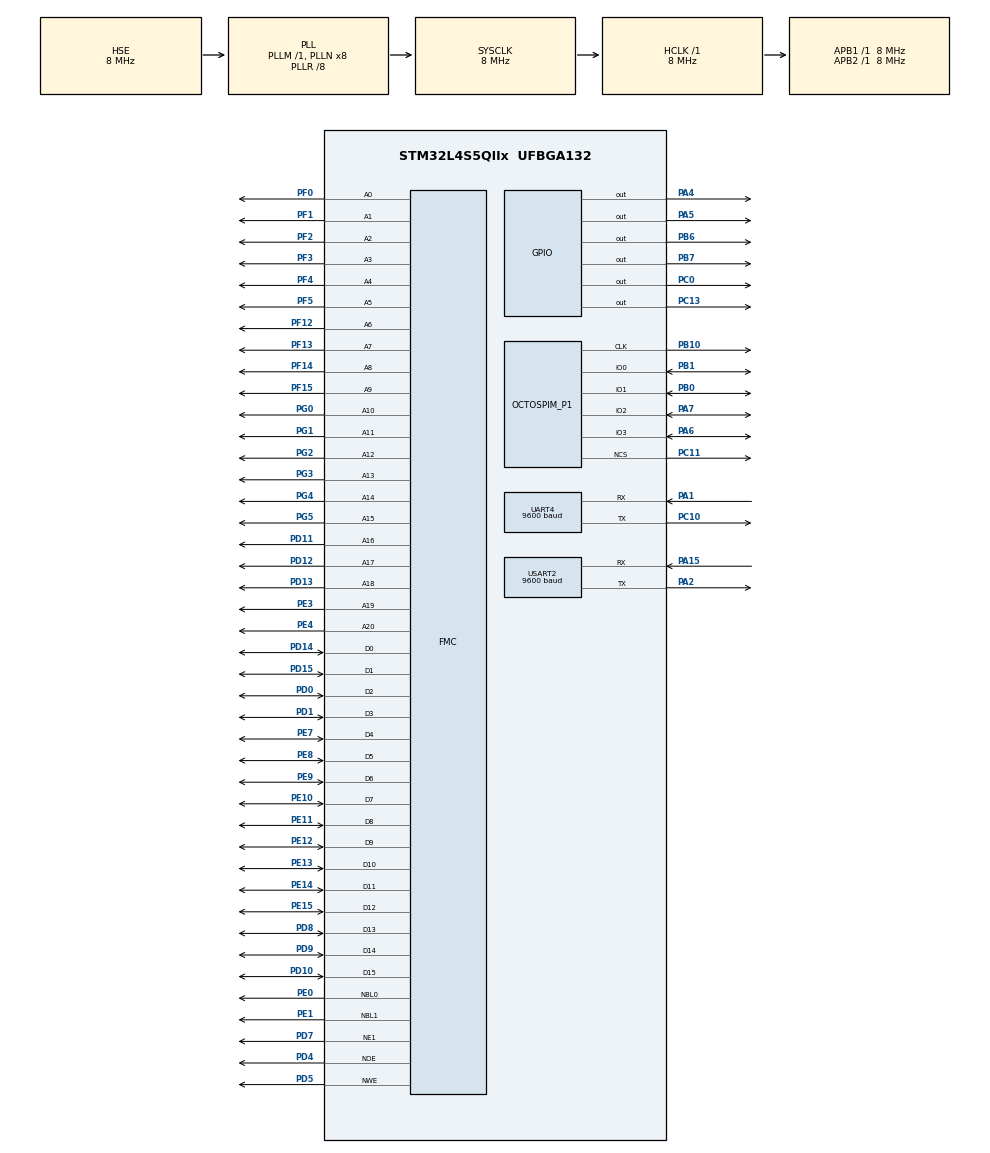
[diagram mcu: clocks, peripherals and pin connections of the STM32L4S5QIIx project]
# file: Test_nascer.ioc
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FMC.WriteFifo1=FMC_WRITE_FIFO_DISABLE
FMC.WriteOperation1=FMC_WRITE_OPERATION_ENABLE
Mcu.Family=STM32L4
Mcu.Name=STM32L4S5QIIx
Mcu.Package=UFBGA132
NVIC.PriorityGroup=NVIC_PRIORITYGROUP_4
PA1.Mode=Asynchronous
PA1.Signal=UART4_RX
PA13\ (JTMS/SWDIO).Mode=Trace_Asynchronous_SW
PA13\ (JTMS/SWDIO).Signal=SYS_JTMS-SWDIO
PA14\ (JTCK/SWCLK).Mode=Trace_Asynchronous_SW
PA14\ (JTCK/SWCLK).Signal=SYS_JTCK-SWCLK
PA15\ (JTDI).Mode=Asynchronous
PA15\ (JTDI).Signal=USART2_RX
PA2.Mode=Asynchronous
PA2.Signal=USART2_TX
PA4.Signal=GPIO_Output
PA5.Signal=GPIO_Output
PA6.Mode=OCTOSPI1_IOL_Port1L
PA6.Signal=OCTOSPIM_P1_IO3
PA7.Mode=OCTOSPI1_IOL_Port1L
PA7.Signal=OCTOSPIM_P1_IO2
PB0.Mode=OCTOSPI1_IOL_Port1L
PB0.Signal=OCTOSPIM_P1_IO1
PB1.Mode=OCTOSPI1_IOL_Port1L
PB1.Signal=OCTOSPIM_P1_IO0
PB10.Mode=O1_P1_CLK
PB10.Signal=OCTOSPIM_P1_CLK
PB3\ (JTDO/TRACESWO).Mode=Trace_Asynchronous_SW
PB3\ (JTDO/TRACESWO).Signal=SYS_JTDO-SWO
PB6.Signal=GPIO_Output
PB7.Signal=GPIO_Output
PC0.PinState=GPIO_PIN_SET
PC0.Signal=GPIO_Output
PC10.Mode=Asynchronous
PC10.Signal=UART4_TX
PC11.Mode=OCTOSPI1_Port1_NCS
PC11.Signal=OCTOSPIM_P1_NCS
PC13.PinState=GPIO_PIN_SET
PC13.Signal=GPIO_Output
PC14-OSC32_IN\ (PC14).Mode=LSE-External-Oscillator
PC14-OSC32_IN\ (PC14).Signal=RCC_OSC32_IN
PC15-OSC32_OUT\ (PC15).Mode=LSE-External-Oscillator
PC15-OSC32_OUT\ (PC15).Signal=RCC_OSC32_OUT
PD0.Signal=FMC_D2_DA2
PD1.Signal=FMC_D3_DA3
PD10.Signal=FMC_D15_DA15
PD11.Signal=FMC_A16_CLE
PD12.Signal=FMC_A17_ALE
PD13.Signal=FMC_A18
PD14.Signal=FMC_D0_DA0
PD15.Signal=FMC_D1_DA1
PD4.Signal=FMC_NOE
PD5.Signal=FMC_NWE
PD7.Mode=NorPsramChipSelect1_1
PD7.Signal=FMC_NE1
PD8.Signal=FMC_D13_DA13
PD9.Signal=FMC_D14_DA14
PE0.Signal=FMC_NBL0
PE1.Signal=FMC_NBL1
PE10.Signal=FMC_D7_DA7
PE11.Signal=FMC_D8_DA8
PE12.Signal=FMC_D9_DA9
PE13.Signal=FMC_D10_DA10
PE14.Signal=FMC_D11_DA11
PE15.Signal=FMC_D12_DA12
PE3.Signal=FMC_A19
PE4.Signal=FMC_A20
PE7.Signal=FMC_D4_DA4
PE8.Signal=FMC_D5_DA5
PE9.Signal=FMC_D6_DA6
PF0.Signal=FMC_A0
PF1.Signal=FMC_A1
PF12.Signal=FMC_A6
PF13.Signal=FMC_A7
PF14.Signal=FMC_A8
PF15.Signal=FMC_A9
PF2.Signal=FMC_A2
PF3.Signal=FMC_A3
PF4.Signal=FMC_A4
PF5.Signal=FMC_A5
PG0.Signal=FMC_A10
PG1.Signal=FMC_A11
PG2.Signal=FMC_A12
PG3.Signal=FMC_A13
PG4.Signal=FMC_A14
PG5.Signal=FMC_A15
PH0-OSC_IN\ (PH0).Mode=HSE-External-Oscillator
PH0-OSC_IN\ (PH0).Signal=RCC_OSC_IN
PH1-OSC_OUT\ (PH1).Mode=HSE-External-Oscillator
PH1-OSC_OUT\ (PH1).Signal=RCC_OSC_OUT
ProjectManager.HeapSize=0x200
ProjectManager.StackSize=0x400
ProjectManager.TargetToolchain=STM32CubeIDE
RCC.ADCFreq_Value=32000000
RCC.AHBFreq_Value=8000000
RCC.APB1Freq_Value=8000000
RCC.APB1TimFreq_Value=8000000
RCC.APB2Freq_Value=8000000
RCC.APB2TimFreq_Value=8000000
RCC.CortexFreq_Value=8000000
RCC.HCLKFreq_Value=8000000
RCC.HSE_VALUE=8000000
RCC.HSI48_VALUE=48000000
RCC.HSI_VALUE=16000000
RCC.MSI_VALUE=4000000
RCC.PLLR=RCC_PLLR_DIV8
RCC.PLLSourceVirtual=RCC_PLLSOURCE_HSE
RCC.SYSCLKFreq_VALUE=8000000
RCC.SYSCLKSource=RCC_SYSCLKSOURCE_PLLCLK
RCC.USBFreq_Value=32000000
RCC.VCOOutputFreq_Value=64000000
SH.FMC_A0.0=FMC_A0,21b-a1
SH.FMC_A1.0=FMC_A1,21b-a1
SH.FMC_A10.0=FMC_A10,21b-a1
SH.FMC_A11.0=FMC_A11,21b-a1
SH.FMC_A12.0=FMC_A12,21b-a1
SH.FMC_A13.0=FMC_A13,21b-a1
SH.FMC_A14.0=FMC_A14,21b-a1
SH.FMC_A15.0=FMC_A15,21b-a1
SH.FMC_A16_CLE.0=FMC_A16,21b-a1
SH.FMC_A17_ALE.0=FMC_A17,21b-a1
SH.FMC_A18.0=FMC_A18,21b-a1
SH.FMC_A19.0=FMC_A19,21b-a1
SH.FMC_A2.0=FMC_A2,21b-a1
SH.FMC_A20.0=FMC_A20,21b-a1
SH.FMC_A3.0=FMC_A3,21b-a1
SH.FMC_A4.0=FMC_A4,21b-a1
SH.FMC_A5.0=FMC_A5,21b-a1
SH.FMC_A6.0=FMC_A6,21b-a1
SH.FMC_A7.0=FMC_A7,21b-a1
SH.FMC_A8.0=FMC_A8,21b-a1
SH.FMC_A9.0=FMC_A9,21b-a1
SH.FMC_D0_DA0.0=FMC_D0,16b-d1
SH.FMC_D10_DA10.0=FMC_D10,16b-d1
SH.FMC_D11_DA11.0=FMC_D11,16b-d1
SH.FMC_D12_DA12.0=FMC_D12,16b-d1
SH.FMC_D13_DA13.0=FMC_D13,16b-d1
SH.FMC_D14_DA14.0=FMC_D14,16b-d1
SH.FMC_D15_DA15.0=FMC_D15,16b-d1
SH.FMC_D1_DA1.0=FMC_D1,16b-d1
SH.FMC_D2_DA2.0=FMC_D2,16b-d1
SH.FMC_D3_DA3.0=FMC_D3,16b-d1
SH.FMC_D4_DA4.0=FMC_D4,16b-d1
SH.FMC_D5_DA5.0=FMC_D5,16b-d1
SH.FMC_D6_DA6.0=FMC_D6,16b-d1
SH.FMC_D7_DA7.0=FMC_D7,16b-d1
SH.FMC_D8_DA8.0=FMC_D8,16b-d1
SH.FMC_D9_DA9.0=FMC_D9,16b-d1
SH.FMC_NBL0.0=FMC_NBL0,2ByteEnable1
SH.FMC_NBL1.0=FMC_NBL1,2ByteEnable1
SH.FMC_NOE.0=FMC_NOE,Sram1
SH.FMC_NWE.0=FMC_NWE,Sram1
UART4.BaudRate=9600
USART2.BaudRate=9600
USART2.VirtualMode-Asynchronous=VM_ASYNC
VP_OCTOSPI1_VS_quad.Mode=quad_mode
board=custom

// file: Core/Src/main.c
/* USER CODE BEGIN Header */
/**
  ******************************************************************************
  * @file           : main.c
  * @brief          : Main program body
  ******************************************************************************
  * @attention
  *
  * Copyright (c) 2024 STMicroelectronics.
  * All rights reserved.
  *
  * This software is licensed under terms that can be found in the LICENSE file
  * in the root directory of this software component.
  * If no LICENSE file comes with this software, it is provided AS-IS.
  *
  ******************************************************************************
  */
/* USER CODE END Header */
#include "main.h"

OSPI_HandleTypeDef hospi1;

UART_HandleTypeDef huart4;
UART_HandleTypeDef huart2;

SRAM_HandleTypeDef hsram1;

/* USER CODE BEGIN PV */

uint32_t i = 0;
uint8_t send1[] = "STLINK SERIAL\n\r";
uint8_t send2[] = "FTDI SERIAL\r\n";
uint8_t p_Data[]   = {0x9f, 0x00, 0x00, 0x00, 0x00};
HAL_StatusTypeDef result;

/* USER CODE END PV */

void SystemClock_Config(void);
static void MX_GPIO_Init(void);
static void MX_UART4_Init(void);
static void MX_USART2_UART_Init(void);
static void MX_FMC_Init(void);
static void MX_OCTOSPI1_Init(void);

/* USER CODE BEGIN 0 */

// Função para ler dados da flash W25N01GV
HAL_StatusTypeDef OSPI_RESET(uint8_t *pData) {

    OSPI_RegularCmdTypeDef cmd;

    cmd.InstructionMode   = HAL_OSPI_INSTRUCTION_1_LINE;
    cmd.AddressMode       = HAL_OSPI_ADDRESS_NONE;
    cmd.AlternateBytesMode = HAL_OSPI_ALTERNATE_BYTES_NONE;
    cmd.DataMode          = HAL_OSPI_DATA_NONE;
    cmd.DummyCycles       = 0;
    cmd.SIOOMode          = HAL_OSPI_SIOO_INST_EVERY_CMD ;
    cmd.Instruction       = 0xFF;
    cmd.Address           = 0x00;
    cmd.AddressSize       = HAL_OSPI_ADDRESS_8_BITS;
    cmd.NbData            = 0;

    // Configuração do OSPI
    // ...

    // Executa o comando de leitura
    result = HAL_OSPI_Command(&hospi1, &cmd, HAL_OSPI_TIMEOUT_DEFAULT_VALUE);
    if (result != HAL_OK) {
        return HAL_ERROR;
    }

    result = HAL_OSPI_Transmit(&hospi1, 0, HAL_OSPI_TIMEOUT_DEFAULT_VALUE);
    if (result != HAL_OK) {
        return HAL_ERROR;
    }

    return HAL_OK;
}

// Função para ler dados da flash W25N01GV
HAL_StatusTypeDef OSPI_Read(uint8_t instruct,uint32_t address, uint8_t *pData, uint32_t size,uint32_t dummy) {

    OSPI_RegularCmdTypeDef cmd;
    cmd.OperationType      = HAL_OSPI_OPTYPE_COMMON_CFG;
    cmd.FlashId            = HAL_OSPI_FLASH_ID_1;
    cmd.InstructionMode    = HAL_OSPI_INSTRUCTION_1_LINE;
    cmd.InstructionSize    = HAL_OSPI_INSTRUCTION_8_BITS;
    cmd.InstructionDtrMode = HAL_OSPI_INSTRUCTION_DTR_DISABLE;
    cmd.AddressMode        = HAL_OSPI_ADDRESS_NONE;
    cmd.AddressSize        = HAL_OSPI_ADDRESS_8_BITS;
    cmd.AddressDtrMode     = HAL_OSPI_ADDRESS_DTR_DISABLE;
    cmd.AlternateBytesMode = HAL_OSPI_ALTERNATE_BYTES_NONE;
    cmd.DataMode           = HAL_OSPI_DATA_1_LINE;
    cmd.DataDtrMode        = HAL_OSPI_DATA_DTR_DISABLE;
    cmd.DQSMode            = HAL_OSPI_DQS_DISABLE;
    cmd.SIOOMode           = HAL_OSPI_SIOO_INST_EVERY_CMD;
    cmd.Instruction        = instruct;
    cmd.Address            = address;
    cmd.NbData             = size;
    cmd.DummyCycles        = dummy;

    // Configuração do OSPI
    // ...

    // Executa o comando de leitura
    result = HAL_OSPI_Command(&hospi1, &cmd, HAL_OSPI_TIMEOUT_DEFAULT_VALUE);
    if (result != HAL_OK) {
        return HAL_ERROR;
    }

    result = HAL_OSPI_Receive(&hospi1, pData, HAL_OSPI_TIMEOUT_DEFAULT_VALUE);
    if (result != HAL_OK) {
        return HAL_ERROR;
    }

    return HAL_OK;
}

/* USER CODE END 0 */

int main(void)
{

  /* MCU Configuration--------------------------------------------------------*/

  /* Reset of all peripherals, Initializes the Flash interface and the Systick. */
  HAL_Init();

  /* Configure the system clock */
  SystemClock_Config();

  /* Initialize all configured peripherals */
  MX_GPIO_Init();
  MX_UART4_Init();
  MX_USART2_UART_Init();
  //MX_FMC_Init();
  MX_OCTOSPI1_Init();
  /* USER CODE BEGIN 2 */
  HAL_GPIO_WritePin(GPIOC, GPIO_PIN_0|GPIO_PIN_13, GPIO_PIN_SET);

  /* USER CODE END 2 */

  /* Infinite loop */
  /* USER CODE BEGIN WHILE */
  while (1)
  {

	  HAL_GPIO_TogglePin(GPIOA, GPIO_PIN_4|GPIO_PIN_5);
	  HAL_GPIO_TogglePin(GPIOB, GPIO_PIN_7|GPIO_PIN_6);

	  HAL_Delay(100);

	  //HAL_UART_Transmit(&huart2, send1, sizeof(send1), 100);

	  HAL_UART_Transmit(&huart4, send2, sizeof(send2), 100);

	  *((uint16_t *)(0x60000000 + i)) = 0x0000;

	  i += 2;

	      uint8_t pData[5] = {0};
	      uint32_t address = 0x00000000; // Endereço de início da leitura

//	      result = OSPI_RESET(p_Data);
//
//	      if (result == HAL_OK) {
//	          // Dados lidos com sucesso
//	          // Processa os dados
//	    	  HAL_UART_Transmit(&huart4, p_Data, sizeof(pData), 100);
//
//	      } else {
//	    	  //while(1);
//	      }

	      result = OSPI_Read(0x9F, address, p_Data, 3, 8);

	      	      if (result == HAL_OK) {
	      	          // Dados lidos com sucesso
	      	          // Processa os dados
	      	    	  HAL_UART_Transmit(&huart4, send2, sizeof(send2), 100);

	      	      } else {
	      	    	  while(1);
	      	      }

    /* USER CODE END WHILE */

  }
}

void SystemClock_Config(void)
{
  RCC_OscInitTypeDef RCC_OscInitStruct = {0};
  RCC_ClkInitTypeDef RCC_ClkInitStruct = {0};

  /** Configure the main internal regulator output voltage
  */
  if (HAL_PWREx_ControlVoltageScaling(PWR_REGULATOR_VOLTAGE_SCALE1) != HAL_OK)
  {
    Error_Handler();
  }

  /** Initializes the RCC Oscillators according to the specified parameters
  * in the RCC_OscInitTypeDef structure.
  */
  RCC_OscInitStruct.OscillatorType = RCC_OSCILLATORTYPE_HSE;
  RCC_OscInitStruct.HSEState = RCC_HSE_ON;
  RCC_OscInitStruct.PLL.PLLState = RCC_PLL_ON;
  RCC_OscInitStruct.PLL.PLLSource = RCC_PLLSOURCE_HSE;
  RCC_OscInitStruct.PLL.PLLM = 1;
  RCC_OscInitStruct.PLL.PLLN = 8;
  RCC_OscInitStruct.PLL.PLLP = RCC_PLLP_DIV2;
  RCC_OscInitStruct.PLL.PLLQ = RCC_PLLQ_DIV2;
  RCC_OscInitStruct.PLL.PLLR = RCC_PLLR_DIV8;
  if (HAL_RCC_OscConfig(&RCC_OscInitStruct) != HAL_OK)
  {
    Error_Handler();
  }

  /** Initializes the CPU, AHB and APB buses clocks
  */
  RCC_ClkInitStruct.ClockType = RCC_CLOCKTYPE_HCLK|RCC_CLOCKTYPE_SYSCLK
                              |RCC_CLOCKTYPE_PCLK1|RCC_CLOCKTYPE_PCLK2;
  RCC_ClkInitStruct.SYSCLKSource = RCC_SYSCLKSOURCE_PLLCLK;
  RCC_ClkInitStruct.AHBCLKDivider = RCC_SYSCLK_DIV1;
  RCC_ClkInitStruct.APB1CLKDivider = RCC_HCLK_DIV1;
  RCC_ClkInitStruct.APB2CLKDivider = RCC_HCLK_DIV1;

  if (HAL_RCC_ClockConfig(&RCC_ClkInitStruct, FLASH_LATENCY_0) != HAL_OK)
  {
    Error_Handler();
  }
}

static void MX_OCTOSPI1_Init(void)
{

  OSPIM_CfgTypeDef OSPIM_Cfg_Struct = {0};

  /* OCTOSPI1 parameter configuration*/
  hospi1.Instance = OCTOSPI1;
  hospi1.Init.FifoThreshold = 1;
  hospi1.Init.DualQuad = HAL_OSPI_DUALQUAD_DISABLE;
  hospi1.Init.MemoryType = HAL_OSPI_MEMTYPE_MICRON;
  hospi1.Init.DeviceSize = 32;
  hospi1.Init.ChipSelectHighTime = 1;
  hospi1.Init.FreeRunningClock = HAL_OSPI_FREERUNCLK_DISABLE;
  hospi1.Init.ClockMode = HAL_OSPI_CLOCK_MODE_0;
  hospi1.Init.ClockPrescaler = 1;
  hospi1.Init.SampleShifting = HAL_OSPI_SAMPLE_SHIFTING_NONE;
  hospi1.Init.DelayHoldQuarterCycle = HAL_OSPI_DHQC_DISABLE;
  hospi1.Init.ChipSelectBoundary = 0;
  hospi1.Init.DelayBlockBypass = HAL_OSPI_DELAY_BLOCK_BYPASSED;
  if (HAL_OSPI_Init(&hospi1) != HAL_OK)
  {
    Error_Handler();
  }
  OSPIM_Cfg_Struct.ClkPort = 1;
  OSPIM_Cfg_Struct.NCSPort = 1;
  OSPIM_Cfg_Struct.IOLowPort = HAL_OSPIM_IOPORT_1_LOW;
  if (HAL_OSPIM_Config(&hospi1, &OSPIM_Cfg_Struct, HAL_OSPI_TIMEOUT_DEFAULT_VALUE) != HAL_OK)
  {
    Error_Handler();
  }

}

static void MX_UART4_Init(void)
{

  huart4.Instance = UART4;
  huart4.Init.BaudRate = 9600;
  huart4.Init.WordLength = UART_WORDLENGTH_8B;
  huart4.Init.StopBits = UART_STOPBITS_1;
  huart4.Init.Parity = UART_PARITY_NONE;
  huart4.Init.Mode = UART_MODE_TX_RX;
  huart4.Init.HwFlowCtl = UART_HWCONTROL_NONE;
  huart4.Init.OverSampling = UART_OVERSAMPLING_16;
  huart4.Init.OneBitSampling = UART_ONE_BIT_SAMPLE_DISABLE;
  huart4.Init.ClockPrescaler = UART_PRESCALER_DIV1;
  huart4.AdvancedInit.AdvFeatureInit = UART_ADVFEATURE_NO_INIT;
  if (HAL_UART_Init(&huart4) != HAL_OK)
  {
    Error_Handler();
  }
  if (HAL_UARTEx_SetTxFifoThreshold(&huart4, UART_TXFIFO_THRESHOLD_1_8) != HAL_OK)
  {
    Error_Handler();
  }
  if (HAL_UARTEx_SetRxFifoThreshold(&huart4, UART_RXFIFO_THRESHOLD_1_8) != HAL_OK)
  {
    Error_Handler();
  }
  if (HAL_UARTEx_DisableFifoMode(&huart4) != HAL_OK)
  {
    Error_Handler();
  }

}

static void MX_USART2_UART_Init(void)
{

  huart2.Instance = USART2;
  huart2.Init.BaudRate = 9600;
  huart2.Init.WordLength = UART_WORDLENGTH_8B;
  huart2.Init.StopBits = UART_STOPBITS_1;
  huart2.Init.Parity = UART_PARITY_NONE;
  huart2.Init.Mode = UART_MODE_TX_RX;
  huart2.Init.HwFlowCtl = UART_HWCONTROL_NONE;
  huart2.Init.OverSampling = UART_OVERSAMPLING_16;
  huart2.Init.OneBitSampling = UART_ONE_BIT_SAMPLE_DISABLE;
  huart2.Init.ClockPrescaler = UART_PRESCALER_DIV1;
  huart2.AdvancedInit.AdvFeatureInit = UART_ADVFEATURE_NO_INIT;
  if (HAL_UART_Init(&huart2) != HAL_OK)
  {
    Error_Handler();
  }
  if (HAL_UARTEx_SetTxFifoThreshold(&huart2, UART_TXFIFO_THRESHOLD_1_8) != HAL_OK)
  {
    Error_Handler();
  }
  if (HAL_UARTEx_SetRxFifoThreshold(&huart2, UART_RXFIFO_THRESHOLD_1_8) != HAL_OK)
  {
    Error_Handler();
  }
  if (HAL_UARTEx_DisableFifoMode(&huart2) != HAL_OK)
  {
    Error_Handler();
  }

}

/* FMC initialization function */
static void MX_FMC_Init(void)
{

  FMC_NORSRAM_TimingTypeDef Timing = {0};

  /** Perform the SRAM1 memory initialization sequence
  */
  hsram1.Instance = FMC_NORSRAM_DEVICE;
  hsram1.Extended = FMC_NORSRAM_EXTENDED_DEVICE;
  /* hsram1.Init */
  hsram1.Init.NSBank = FMC_NORSRAM_BANK1;
  hsram1.Init.DataAddressMux = FMC_DATA_ADDRESS_MUX_DISABLE;
  hsram1.Init.MemoryType = FMC_MEMORY_TYPE_SRAM;
  hsram1.Init.MemoryDataWidth = FMC_NORSRAM_MEM_BUS_WIDTH_16;
  hsram1.Init.BurstAccessMode = FMC_BURST_ACCESS_MODE_DISABLE;
  hsram1.Init.WaitSignalPolarity = FMC_WAIT_SIGNAL_POLARITY_LOW;
  hsram1.Init.WaitSignalActive = FMC_WAIT_TIMING_BEFORE_WS;
  hsram1.Init.WriteOperation = FMC_WRITE_OPERATION_ENABLE;
  hsram1.Init.WaitSignal = FMC_WAIT_SIGNAL_DISABLE;
  hsram1.Init.ExtendedMode = FMC_EXTENDED_MODE_DISABLE;
  hsram1.Init.AsynchronousWait = FMC_ASYNCHRONOUS_WAIT_DISABLE;
  hsram1.Init.WriteBurst = FMC_WRITE_BURST_DISABLE;
  hsram1.Init.ContinuousClock = FMC_CONTINUOUS_CLOCK_SYNC_ONLY;
  hsram1.Init.WriteFifo = FMC_WRITE_FIFO_DISABLE;
  hsram1.Init.NBLSetupTime = 0;
  hsram1.Init.PageSize = FMC_PAGE_SIZE_NONE;
  /* Timing */
  Timing.AddressSetupTime = 15;
  Timing.AddressHoldTime = 15;
  Timing.DataSetupTime = 255;
  Timing.DataHoldTime = 0;
  Timing.BusTurnAroundDuration = 15;
  Timing.CLKDivision = 16;
  Timing.DataLatency = 17;
  Timing.AccessMode = FMC_ACCESS_MODE_A;
  /* ExtTiming */

  if (HAL_SRAM_Init(&hsram1, &Timing, NULL) != HAL_OK)
  {
    Error_Handler( );
  }

}

static void MX_GPIO_Init(void)
{
  GPIO_InitTypeDef GPIO_InitStruct = {0};

  /* GPIO Ports Clock Enable */
  __HAL_RCC_GPIOE_CLK_ENABLE();
  __HAL_RCC_GPIOD_CLK_ENABLE();
  __HAL_RCC_GPIOB_CLK_ENABLE();
  __HAL_RCC_GPIOA_CLK_ENABLE();
  __HAL_RCC_GPIOC_CLK_ENABLE();
  __HAL_RCC_GPIOF_CLK_ENABLE();
  __HAL_RCC_GPIOG_CLK_ENABLE();
  HAL_PWREx_EnableVddIO2();
  __HAL_RCC_GPIOH_CLK_ENABLE();

  /*Configure GPIO pin Output Level */
  HAL_GPIO_WritePin(GPIOB, GPIO_PIN_7|GPIO_PIN_6, GPIO_PIN_RESET);

  /*Configure GPIO pin Output Level */
  HAL_GPIO_WritePin(GPIOC, GPIO_PIN_13|GPIO_PIN_0, GPIO_PIN_SET);

  /*Configure GPIO pin Output Level */
  HAL_GPIO_WritePin(GPIOA, GPIO_PIN_4|GPIO_PIN_5, GPIO_PIN_RESET);

  /*Configure GPIO pins : PB7 PB6 */
  GPIO_InitStruct.Pin = GPIO_PIN_7|GPIO_PIN_6;
  GPIO_InitStruct.Mode = GPIO_MODE_OUTPUT_PP;
  GPIO_InitStruct.Pull = GPIO_NOPULL;
  GPIO_InitStruct.Speed = GPIO_SPEED_FREQ_LOW;
  HAL_GPIO_Init(GPIOB, &GPIO_InitStruct);

  /*Configure GPIO pins : PC13 PC0 */
  GPIO_InitStruct.Pin = GPIO_PIN_13|GPIO_PIN_0;
  GPIO_InitStruct.Mode = GPIO_MODE_OUTPUT_PP;
  GPIO_InitStruct.Pull = GPIO_NOPULL;
  GPIO_InitStruct.Speed = GPIO_SPEED_FREQ_LOW;
  HAL_GPIO_Init(GPIOC, &GPIO_InitStruct);

  /*Configure GPIO pins : PA4 PA5 */
  GPIO_InitStruct.Pin = GPIO_PIN_4|GPIO_PIN_5;
  GPIO_InitStruct.Mode = GPIO_MODE_OUTPUT_PP;
  GPIO_InitStruct.Pull = GPIO_NOPULL;
  GPIO_InitStruct.Speed = GPIO_SPEED_FREQ_LOW;
  HAL_GPIO_Init(GPIOA, &GPIO_InitStruct);

}

void Error_Handler(void)
{
  __disable_irq();
  while (1)
  {
  }
}
